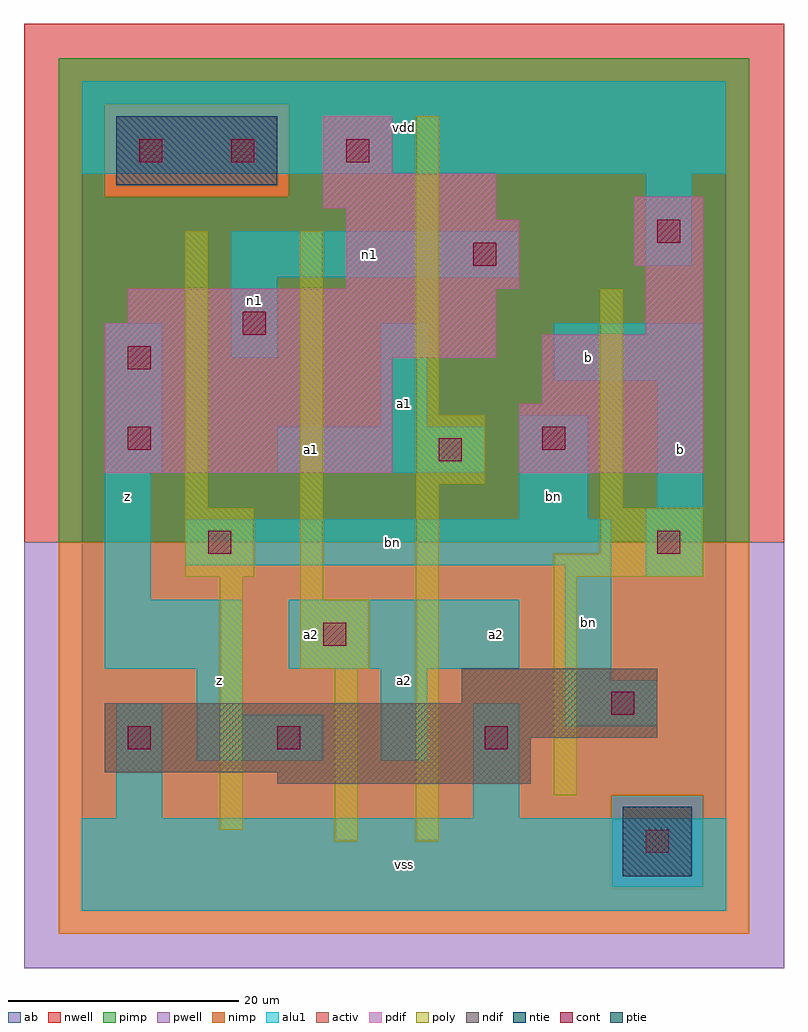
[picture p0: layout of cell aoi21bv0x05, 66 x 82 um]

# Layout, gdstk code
import gdstk
lib = gdstk.Library(unit=1e-6, precision=1e-09)
def R(c, l, rs):  # rectangles x0, y0, x1, y1
    for r in rs: c.add(gdstk.rectangle(r[:2], r[2:], *l))
ndif = (3, 0)
pdif = (4, 0)
ntie = (5, 0)
ptie = (6, 0)
cont = (25, 0)
pwell = (41, 0)
nwell = (42, 0)
activ = (43, 0)
pimp = (44, 0)
nimp = (45, 0)
poly = (46, 0)
alu1 = (49, 0)
ab = (63, 0)

aoi21bv0x05 = lib.new_cell('aoi21bv0x05')
R(aoi21bv0x05, ndif, [(17,11,39,12), (2,12,39,15), (2,15,50,18), (33,18,50,21)])
R(aoi21bv0x05, pdif, [(2,38,27,48), (38,38,54,44), (40,44,54,50), (2,48,36,51), (49,50,54,56), (4,51,36,54), (23,54,38,60), (48,56,54,62), (23,60,36,61), (21,61,36,64), (21,64,27,69)])
R(aoi21bv0x05, ntie, [(3,63,17,69)])
R(aoi21bv0x05, ptie, [(47,3,53,9)])
R(aoi21bv0x05, cont, [(49,5,51,7), (4,14,6,16), (17,14,19,16), (35,14,37,16), (46,17,48,19), (21,23,23,25), (11,31,13,33), (50,31,52,33), (31,39,33,41), (4,40,6,42), (40,40,42,42), (4,47,6,49), (14,50,16,52), (34,56,36,58), (50,58,52,60), (5,65,7,67), (13,65,15,67), (23,65,25,67)])
R(aoi21bv0x05, pwell, [(-5,-5,61,32)])
R(aoi21bv0x05, nwell, [(-5,32,61,77)])
R(aoi21bv0x05, activ, [(47,3,53,9), (17,11,39,12), (2,12,39,15), (2,15,50,18), (33,18,50,21), (2,38,27,48), (38,38,54,44), (40,44,54,50), (2,48,36,51), (49,50,54,56), (4,51,36,54), (23,54,38,60), (48,56,54,62), (23,60,36,61), (21,61,36,64), (3,63,17,69), (21,64,27,69)])
R(aoi21bv0x05, pimp, [(46,2,54,10), (-2,32,58,62), (-2,62,2,70), (18,62,58,70), (-2,70,58,74)])
R(aoi21bv0x05, nimp, [(-2,-2,58,2), (-2,2,46,10), (54,2,58,10), (-2,10,58,32), (2,62,18,70)])
R(aoi21bv0x05, poly, [(22,6,24,21), (29,6,31,37), (12,7,14,29), (41,10,43,29), (19,21,25,27), (19,27,21,59), (9,29,15,35), (41,29,54,31), (45,31,54,35), (9,35,11,59), (45,35,47,54), (29,37,35,43), (29,43,31,69)])
R(aoi21bv0x05, alu1, [(0,0,56,8), (3,8,7,18), (34,8,38,18), (10,13,21,17), (26,13,30,21), (42,16,50,20), (10,17,14,21), (42,20,46,30), (2,21,14,27), (18,21,38,27), (2,27,6,38), (49,29,54,35), (9,30,46,34), (38,34,44,43), (50,35,54,46), (2,38,7,51), (17,38,35,42), (26,42,30,51), (41,46,54,51), (13,48,17,55), (13,55,38,59), (49,56,53,64), (0,64,56,72)])
R(aoi21bv0x05, ab, [(0,0,56,72)])
aoi21bv0x05.add(gdstk.Label('n1', (15,53), layer=49, texttype=0))
aoi21bv0x05.add(gdstk.Label('bn', (44,25), layer=49, texttype=0))
aoi21bv0x05.add(gdstk.Label('bn', (41,36), layer=49, texttype=0))
aoi21bv0x05.add(gdstk.Label('bn', (27,32), layer=49, texttype=0))
aoi21bv0x05.add(gdstk.Label('n1', (25,57), layer=49, texttype=0))
aoi21bv0x05.add(gdstk.Label('z', (4,36), layer=49, texttype=0))
aoi21bv0x05.add(gdstk.Label('z', (12,20), layer=49, texttype=0))
aoi21bv0x05.add(gdstk.Label('a2', (20,24), layer=49, texttype=0))
aoi21bv0x05.add(gdstk.Label('a1', (20,40), layer=49, texttype=0))
aoi21bv0x05.add(gdstk.Label('vss', (28,4), layer=49, texttype=0))
aoi21bv0x05.add(gdstk.Label('a2', (28,20), layer=49, texttype=0))
aoi21bv0x05.add(gdstk.Label('a2', (36,24), layer=49, texttype=0))
aoi21bv0x05.add(gdstk.Label('a1', (28,44), layer=49, texttype=0))
aoi21bv0x05.add(gdstk.Label('vdd', (28,68), layer=49, texttype=0))
aoi21bv0x05.add(gdstk.Label('b', (52,40), layer=49, texttype=0))
aoi21bv0x05.add(gdstk.Label('b', (44,48), layer=49, texttype=0))

lib.write_gds('aoi21bv0x05.gds')
